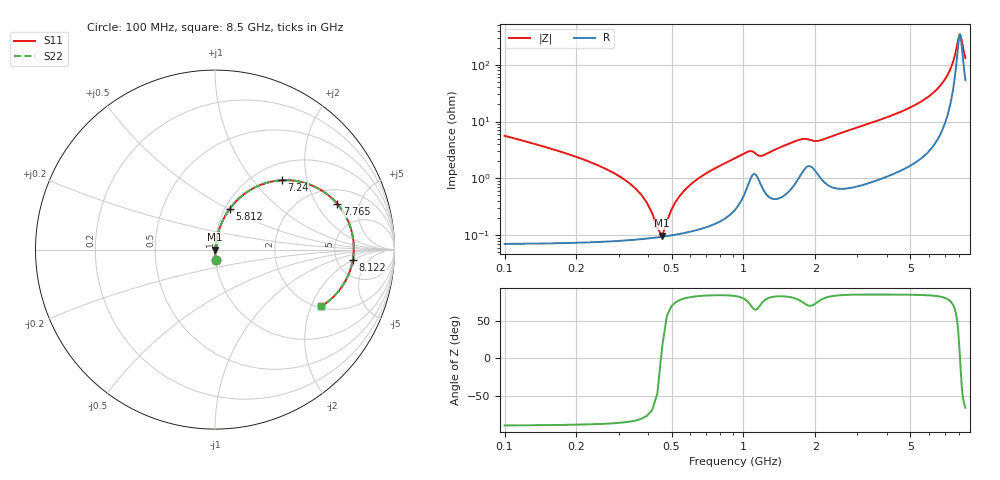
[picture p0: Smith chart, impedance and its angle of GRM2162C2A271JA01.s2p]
!Murata Part Number: GRM2162C2A271JA01
!These Parameters are Measured in Series Mode Connection
!Data Generated on Mar 30, 2021
!  o--ll--o
!Port1  Port2
!  o------o
!Operation Temp=25[degC], DC Bias Voltage=0[V]
!Freq. Start=100[MHz] Stop=9[GHz] 401[Steps]
# Hz S RI R 50
!Freq.(Hz) S11(Real) S11(Imag) S21(Real) S21(Imag) S12(Real) S12(Imag) S22(Real) S22(Imag)
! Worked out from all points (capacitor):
!   401 points, 100 MHz to 8.5 GHz, reference 50 ohm
!   read as one part in series: C = 270 pF near 142 MHz
!   lowest |Z| = 97.5 mohm at 457 MHz (marker M1)
!   series resonance near 452.5 MHz, so ESL is about 460 pH
!   S11 on the Smith chart (normalised r, x): 100 MHz: 1.00, -0.11; 5.812 GHz: 1.05, +0.51; 7.24 GHz: 1.31, +1.42; 7.765 GHz: 2.82, +3.06; 8.122 GHz: 7.15, -1.95; 8.5 GHz: 2.07, -2.38
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1e8  0.00383 -0.0558  0.9962 0.0558  0.9962 0.0558  0.00383 -0.0558
3.1e8  0.000901 -0.0101  0.9991 0.0101  0.9991 0.0101  0.000901 -0.0101
3.73e8  0.000875 -0.0051  0.9991 0.0051  0.9991 0.0051  0.000875 -0.0051
4.15e8  0.000895 -0.00227  0.9991 0.00227  0.9991 0.00227  0.000895 -0.00227
4.57e8  0.000937 0.000266  0.9991 -0.000266  0.9991 -0.000266  0.000937 0.000266
4.78e8  0.000964 0.00145  0.999 -0.00145  0.999 -0.00145  0.000964 0.00145
5.41e8  0.00107 0.00478  0.9989 -0.00478  0.9989 -0.00478  0.00107 0.00478
5.83e8  0.00117 0.00684  0.9988 -0.00684  0.9988 -0.00684  0.00117 0.00684
7.72e8  0.00186 0.0154  0.9981 -0.0154  0.9981 -0.0154  0.00186 0.0154
1.045e9  0.0083 0.0281  0.9917 -0.0281  0.9917 -0.0281  0.0083 0.0281
1.192e9  0.00771 0.0235  0.9923 -0.0235  0.9923 -0.0235  0.00771 0.0235
1.507e9  0.00667 0.038  0.9933 -0.038  0.9933 -0.038  0.00667 0.038
2.914e9  0.0125 0.0738  0.9875 -0.0738  0.9875 -0.0738  0.0125 0.0738
4.3e9  0.029 0.1281  0.971 -0.1281  0.971 -0.1281  0.029 0.1281
5.707e9  0.0754 0.2177  0.9246 -0.2177  0.9246 -0.2177  0.0754 0.2177
5.812e9  0.0821 0.2271  0.9179 -0.2271  0.9179 -0.2271  0.0821 0.2271
7.114e9  0.3162 0.3789  0.6838 -0.3789  0.6838 -0.3789  0.3162 0.3789
7.24e9  0.3714 0.3862  0.6286 -0.3862  0.6286 -0.3862  0.3714 0.3862
7.765e9  0.6809 0.2553  0.3191 -0.2553  0.3191 -0.2553  0.6809 0.2553
7.996e9  0.7688 0.065  0.2312 -0.065  0.2312 -0.065  0.7688 0.065
8.122e9  0.7679 -0.0555  0.2321 0.0555  0.2321 0.0555  0.7679 -0.0555
8.5e9  0.5925 -0.3155  0.4075 0.3155  0.4075 0.3155  0.5925 -0.3155
